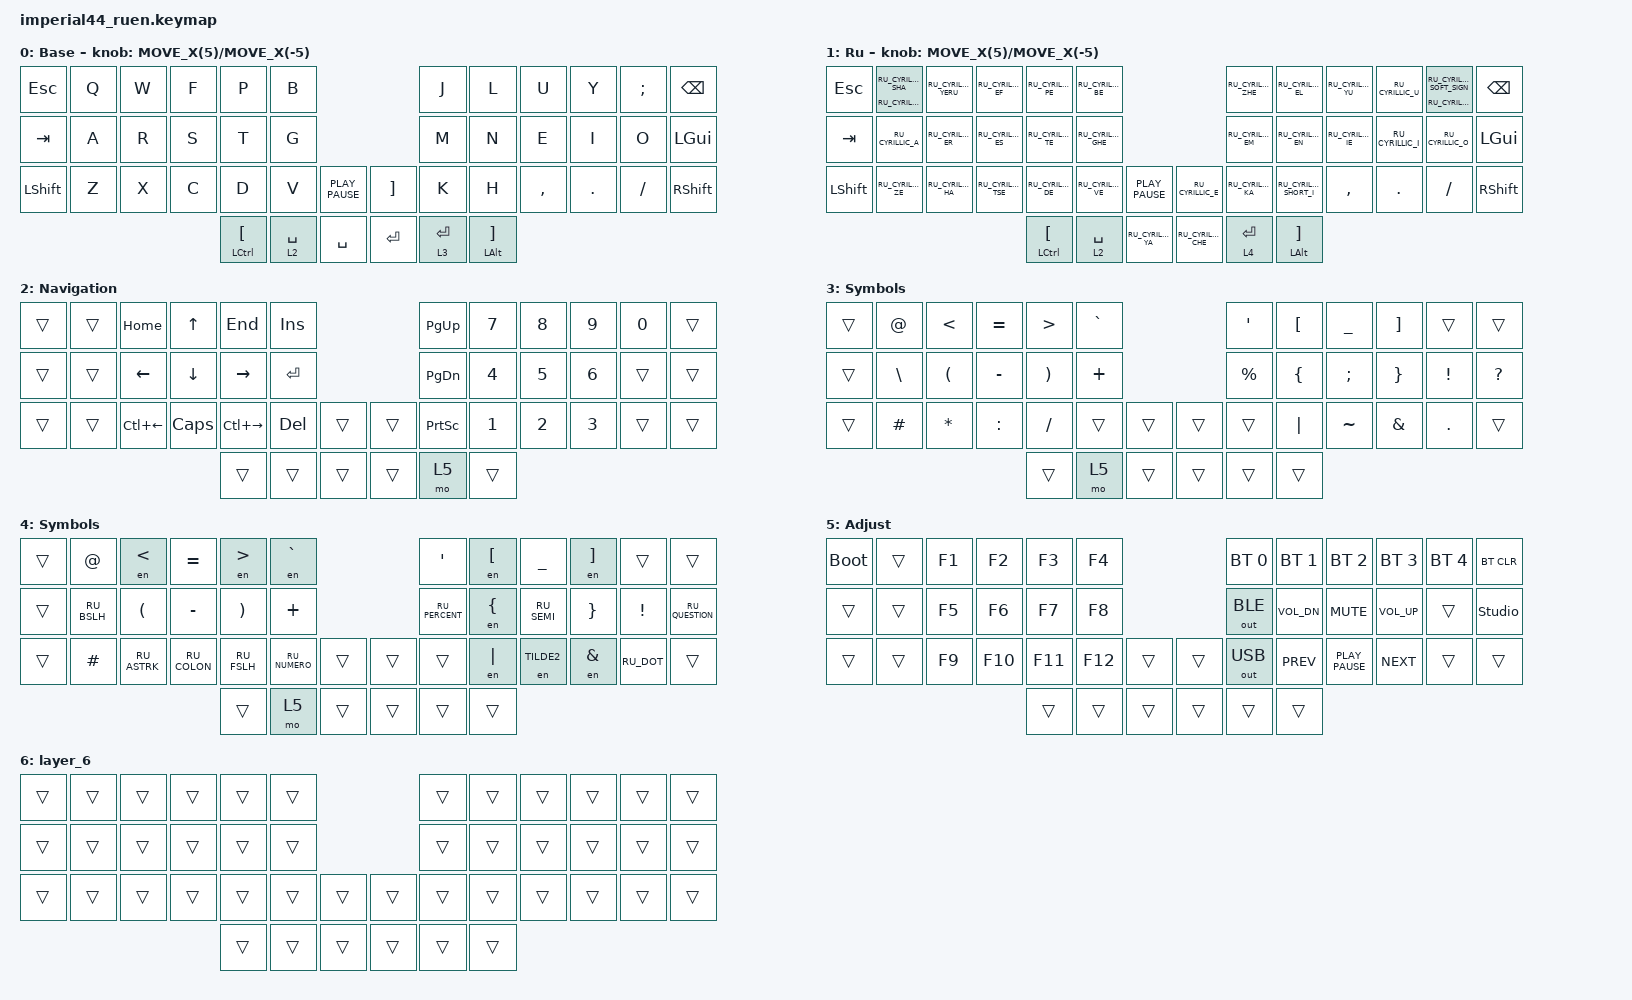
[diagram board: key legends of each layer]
#include "keys_ru.h"
#include <behaviors.dtsi>
#include <dt-bindings/zmk/bt.h>
#include <dt-bindings/zmk/keys.h>
#include <dt-bindings/zmk/outputs.h>
#include <dt-bindings/zmk/pointing.h>

/ {
    combos {
        compatible = "zmk,combos";

        cmben {
            bindings = <&layer_en>;
            key-positions = <15 16>;
            layers = <1>;
        };

        cmbru {
            bindings = <&layer_ru>;
            key-positions = <15 16>;
            layers = <0>;
        };
    };

    macros {
        to_ru: to_ru {
            compatible = "zmk,behavior-macro";
            #binding-cells = <0>;
            bindings = <&kp LS(LC(N2))>;
            label = "TO_RU";
            wait-ms = <0>;
            tap-ms = <30>;
        };

        to_en: to_en {
            compatible = "zmk,behavior-macro";
            #binding-cells = <0>;
            bindings = <&kp LS(LC(N1))>;
            label = "TO_EN";
            wait-ms = <0>;
            tap-ms = <30>;
        };

        layer_en: layer_en {
            compatible = "zmk,behavior-macro";
            #binding-cells = <0>;
            bindings = <&to 0 &to_en &kp LA(LEFT_SHIFT)>;
            label = "LAYER_EN";
            wait-ms = <0>;
            tap-ms = <30>;
        };

        layer_ru: layer_ru {
            compatible = "zmk,behavior-macro";
            #binding-cells = <0>;
            bindings = <&to 1 &to_ru &kp LA(LEFT_SHIFT)>;
            label = "LAYER_RU";
            tap-ms = <30>;
            wait-ms = <0>;
        };

        en: en {
            compatible = "zmk,behavior-macro-one-param";
            #binding-cells = <1>;
            bindings =
                <&to_en>,
                <&macro_press>,
                <&macro_param_1to1 &kp MACRO_PLACEHOLDER>,
                <&macro_pause_for_release>,
                <&macro_release>,
                <&macro_param_1to1 &kp MACRO_PLACEHOLDER>,
                <&macro_tap>,
                <&to_ru>;

            label = "EN";
            wait-ms = <0>;
            tap-ms = <30>;
        };
    };

    behaviors {
        ms_scroll: ms_scroll {
            compatible = "zmk,behavior-sensor-rotate-var";
            label = "MS_SCROLL";
            #sensor-binding-cells = <2>;
            bindings = <&msc>, <&msc>;
        };
    };

    keymap {
        compatible = "zmk,keymap";

        en {
            bindings = <
&kp ESC    &kp Q  &kp W  &kp F  &kp P                   &kp B                                       &kp J        &kp L                       &kp U      &kp Y    &kp SEMI  &kp BSPC
&kp TAB    &kp A  &kp R  &kp S  &kp T                   &kp G                                       &kp M        &kp N                       &kp E      &kp I    &kp O     &kp LGUI
&kp LSHFT  &kp Z  &kp X  &kp C  &kp D                   &kp V        &kp K_PLAY_PAUSE    &kp RBKT   &kp K        &kp H                       &kp COMMA  &kp DOT  &kp FSLH  &kp RSHFT
                                &mt LCTRL LEFT_BRACKET  &lt 2 SPACE  &kp SPACE           &kp ENTER  &lt 3 ENTER  &mt LEFT_ALT RIGHT_BRACKET
            >;

            display-name = "Base";
            sensor-bindings = <&ms_scroll MOVE_X(5) MOVE_X(-5)>;
        };

        ru {
            display-name = "Ru";
            bindings = <
&kp ESC    &mt RU_CYRILLIC_SHCHA RU_CYRILLIC_SHA  &kp RU_CYRILLIC_YERU  &kp RU_CYRILLIC_EF   &kp RU_CYRILLIC_PE      &kp RU_CYRILLIC_BE                                              &kp RU_CYRILLIC_ZHE  &kp RU_CYRILLIC_EL          &kp RU_CYRILLIC_YU  &kp RU_CYRILLIC_U  &mt RU_CYRILLIC_HARD_SIGN RU_CYRILLIC_SOFT_SIGN  &kp BACKSPACE
&kp TAB    &kp RU_CYRILLIC_A                      &kp RU_CYRILLIC_ER    &kp RU_CYRILLIC_ES   &kp RU_CYRILLIC_TE      &kp RU_CYRILLIC_GHE                                             &kp RU_CYRILLIC_EM   &kp RU_CYRILLIC_EN          &kp RU_CYRILLIC_IE  &kp RU_CYRILLIC_I  &kp RU_CYRILLIC_O                                &kp LGUI
&kp LSHFT  &kp RU_CYRILLIC_ZE                     &kp RU_CYRILLIC_HA    &kp RU_CYRILLIC_TSE  &kp RU_CYRILLIC_DE      &kp RU_CYRILLIC_VE   &kp K_PLAY_PAUSE      &kp RU_CYRILLIC_E    &kp RU_CYRILLIC_KA   &kp RU_CYRILLIC_SHORT_I     &kp COMMA           &kp DOT            &kp FSLH                                         &kp RSHFT
                                                                                             &mt LCTRL LEFT_BRACKET  &lt 2 SPACE          &kp RU_CYRILLIC_YA    &kp RU_CYRILLIC_CHE  &lt 4 ENTER          &mt LEFT_ALT RIGHT_BRACKET
            >;

            sensor-bindings = <&ms_scroll MOVE_X(5) MOVE_X(-5)>;
        };

        nav {
            bindings = <
&trans  &trans  &kp HOME      &kp UP    &kp END        &kp INS                    &kp PG_UP        &kp N7  &kp N8  &kp N9  &kp N0  &trans
&trans  &trans  &kp LEFT      &kp DOWN  &kp RIGHT      &kp RET                    &kp PG_DN        &kp N4  &kp N5  &kp N6  &trans  &trans
&trans  &trans  &kp LC(LEFT)  &kp CAPS  &kp LC(RIGHT)  &kp DEL  &trans    &trans  &kp PRINTSCREEN  &kp N1  &kp N2  &kp N3  &trans  &trans
                                        &trans         &trans   &trans    &trans  &mo 5            &trans
            >;

            display-name = "Navigation";
        };

        sym_en {
            bindings = <
&trans  &kp AT    &kp LT    &kp EQUAL  &kp GT    &kp GRAVE                    &kp SQT    &kp LBKT  &kp UNDER  &kp RBKT  &trans    &trans
&trans  &kp BSLH  &kp LPAR  &kp MINUS  &kp RPAR  &kp PLUS                     &kp PRCNT  &kp LBRC  &kp SEMI   &kp RBRC  &kp EXCL  &kp QUESTION
&trans  &kp HASH  &kp STAR  &kp COLON  &kp FSLH  &trans     &trans    &trans  &trans     &kp PIPE  &kp TILDE  &kp AMPS  &kp DOT   &trans
                                       &trans    &mo 5      &trans    &trans  &trans     &trans
            >;

            display-name = "Symbols";
        };

        sym_ru {
            display-name = "Symbols";
            bindings = <
&trans  &kp AT_SIGN  &en LESS_THAN  &kp EQUAL     &en GREATER_THAN  &en GRAVE                        &kp SQT         &en LBKT        &kp UNDER    &en RBKT         &trans      &trans
&trans  &kp RU_BSLH  &kp LPAR       &kp MINUS     &kp RPAR          &kp PLUS                         &kp RU_PERCENT  &en LEFT_BRACE  &kp RU_SEMI  &kp RIGHT_BRACE  &kp EXCL    &kp RU_QUESTION
&trans  &kp HASH     &kp RU_ASTRK   &kp RU_COLON  &kp RU_FSLH       &kp RU_NUMERO  &trans    &trans  &trans          &en PIPE        &en TILDE2   &en AMPERSAND    &kp RU_DOT  &trans
                                                  &trans            &mo 5          &trans    &trans  &trans          &trans
            >;
        };

        adj {
            bindings = <
&bootloader  &trans  &kp F1  &kp F2   &kp F3   &kp F4                     &bt BT_SEL 0  &bt BT_SEL 1  &bt BT_SEL 2      &bt BT_SEL 3  &bt BT_SEL 4  &bt BT_CLR
&trans       &trans  &kp F5  &kp F6   &kp F7   &kp F8                     &out OUT_BLE  &kp C_VOL_DN  &kp K_MUTE        &kp C_VOL_UP  &trans        &studio_unlock
&trans       &trans  &kp F9  &kp F10  &kp F11  &kp F12  &trans    &trans  &out OUT_USB  &kp K_PREV    &kp K_PLAY_PAUSE  &kp K_NEXT    &trans        &trans
                                      &trans   &trans   &trans    &trans  &trans        &trans
            >;

            display-name = "Adjust";
        };

        layer_6 {
            bindings = <
&trans  &trans  &trans  &trans  &trans  &trans                    &trans  &trans  &trans  &trans  &trans  &trans
&trans  &trans  &trans  &trans  &trans  &trans                    &trans  &trans  &trans  &trans  &trans  &trans
&trans  &trans  &trans  &trans  &trans  &trans  &trans    &trans  &trans  &trans  &trans  &trans  &trans  &trans
                                &trans  &trans  &trans    &trans  &trans  &trans
            >;
        };
    };
};
